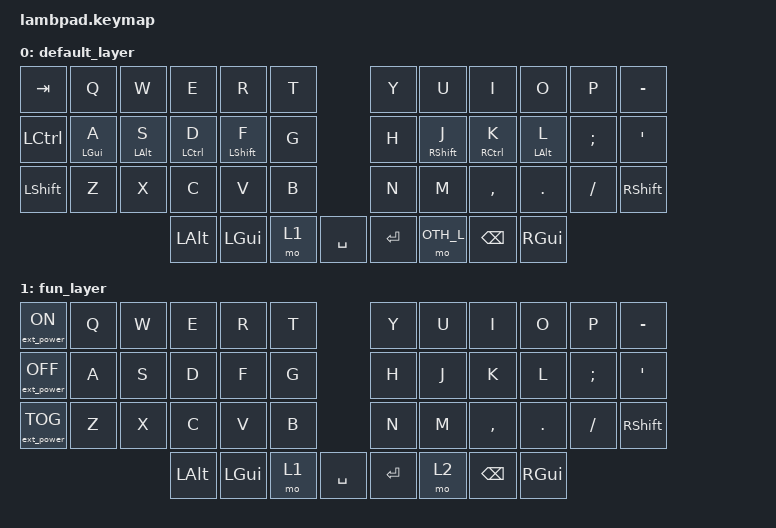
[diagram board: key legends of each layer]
/*
 * Copyright (c) 2020 The ZMK Contributors
 *
 * SPDX-License-Identifier: MIT
 */

#include <behaviors.dtsi>
#include <dt-bindings/zmk/keys.h>
#include <dt-bindings/zmk/bt.h>
#include <dt-bindings/zmk/ext_power.h>

#define NAV_L 1
#define OTH_L 2
#define NUM_L 3
#define SYM_L 4
#define MED_L 5
#define FUN_L 6

// Using layer taps on thumbs, having quick tap as well helps w/ repeating space/backspace
&lt { quick_tap_ms = <200>; };
/ {
    combos {
        compatible = "zmk,combos";

        med_mo {
	    timeout-ms = <50>;
            key-positions = <36 37>; // LALT and LGUI on default layer
            bindings = <&mo MED_L>;
        };

        fn_mo {
	    timeout-ms = <50>;
            key-positions = <42 43>; // BSPC and RGUI on default layer
            bindings = <&mo FUN_L>;
        };

    };

    behaviors {
        hm: homerow_mods {
            compatible = "zmk,behavior-hold-tap";
            label = "homerow mods";
            #binding-cells = <2>;
            tapping_term_ms = <200>;
            flavor = "tap-preferred";
            bindings = <&kp>, <&kp>;
        };
    };


    keymap {
        compatible = "zmk,keymap";

        default_layer {
// ------------------------------------------------------------------------------------------------------------
// |  ESC  |  1  |  2  |  3   |  4   |  5   |                   |  6   |  7    |  8    |  9   |   0   |   `   |
// |  TAB  |  Q  |  W  |  E   |  R   |  T   |                   |  Y   |  U    |  I    |  O   |   P   |   -   |
// |  CTRL |  A  |  S  |  D   |  F   |  G   |                   |  H   |  J    |  K    |  L   |   ;   |   '   |
// | SHIFT |  Z  |  X  |  C   |  V   |  B   |   "["  |  |  "]"  |  N   |  M    |  ,    |  .   |   /   | SHIFT |
//                     | ALT  | GUI  | LOWER|  SPACE |  | ENTER | RAISE| BSPC  | GUI   |
            bindings = <
&kp TAB   &kp Q      &kp W      &kp E       &kp R       &kp T                      &kp Y  &kp U       &kp I       &kp O      &kp P    &kp MINUS
&kp LCTRL &hm LGUI A &hm LALT S &hm LCTRL D &hm LSHFT F &kp G                      &kp H  &hm RSHFT J &hm RCTRL K &hm LALT L &kp SEMI &kp SQT
&kp LSHFT &kp Z      &kp X      &kp C       &kp V       &kp B                      &kp N  &kp M       &kp COMMA   &kp DOT    &kp FSLH &kp RSHFT
                                &kp LALT    &kp LGUI    &mo 1  &kp SPACE  &kp RET  &mo OTH_L &kp BSPC    &kp RGUI
            >;
        };

        fun_layer  {

bindings = <
&ext_power EP_ON  &kp Q  &kp W  &kp E    &kp R    &kp T                      &kp Y  &kp U    &kp I     &kp O   &kp P    &kp MINUS
&ext_power EP_OFF &kp A  &kp S  &kp D    &kp F    &kp G                      &kp H  &kp J    &kp K     &kp L   &kp SEMI &kp SQT
&ext_power EP_TOG &kp Z  &kp X  &kp C    &kp V    &kp B                      &kp N  &kp M    &kp COMMA &kp DOT &kp FSLH &kp RSHFT
                        &kp LALT &kp LGUI &mo 1  &kp SPACE  &kp RET  &mo 2  &kp BSPC &kp RGUI
            >;
        };

    };
};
